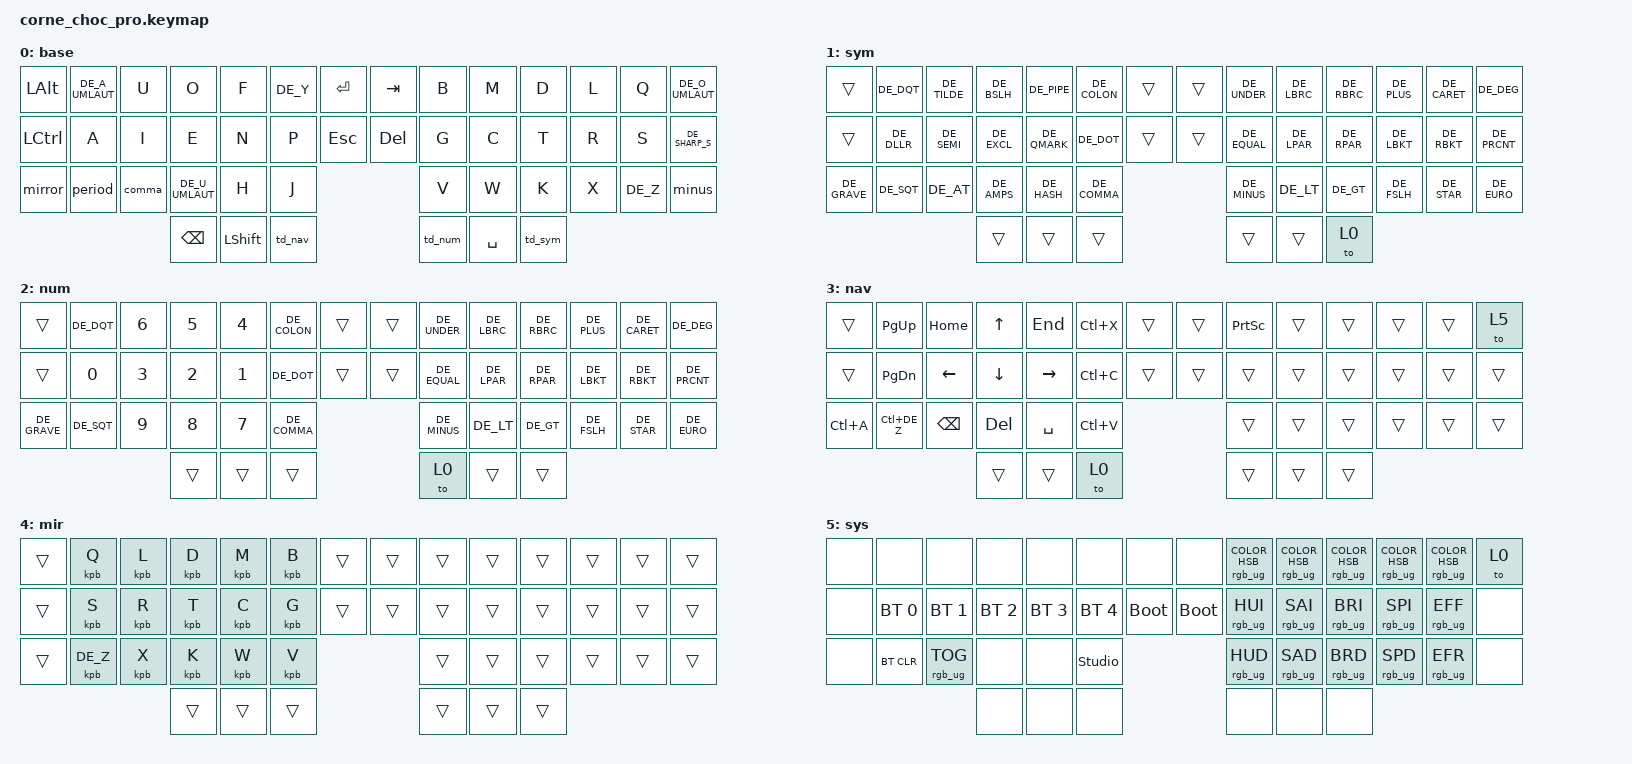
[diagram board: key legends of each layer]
/*
 * Copyright (c) 2020 The ZMK Contributors
 *
 * SPDX-License-Identifier: MIT
 */

#include <behaviors.dtsi>
#include <dt-bindings/zmk/bt.h>
#include <dt-bindings/zmk/keys.h>
#include <dt-bindings/zmk/rgb.h>
#include "keys_de.h"

/ {
    chosen { zmk,physical-layout = &default_layout; };
};

/ {
    macros {
        mirror: mirror {
            compatible = "zmk,behavior-macro";
            #binding-cells = <0>;
            bindings =
                <&to 4>,
                <&macro_press>,
                <&kp LCTRL>,
                <&macro_pause_for_release>,
                <&macro_release>,
                <&kp LCTRL>;

            label = "MIRROR";
        };

        kpb: kpb {
            compatible = "zmk,behavior-macro-one-param";
            #binding-cells = <1>;
            bindings = <&macro_param_1to1 &kp MACRO_PLACEHOLDER &to 0>;
            label = "KPB";
        };
    };

    behaviors {
        period: period {
            compatible = "zmk,behavior-mod-morph";
            label = "PERIOD";
            bindings = <&kp DE_PERIOD>, <&kp BACKSLASH>;

            #binding-cells = <0>;
            mods = <(MOD_LSFT|MOD_RSFT)>;
            keep-mods = <(MOD_LSFT|MOD_RSFT)>;
        };

        comma: comma {
            compatible = "zmk,behavior-mod-morph";
            label = "COMMA";
            bindings = <&kp DE_COMMA>, <&kp DE_PERIOD>;

            #binding-cells = <0>;
            mods = <(MOD_LSFT|MOD_RSFT)>;
            keep-mods = <(MOD_LSFT|MOD_RSFT)>;
        };

        minus: minus {
            compatible = "zmk,behavior-mod-morph";
            label = "MINUS";
            bindings = <&kp MINUS>, <&kp NUMBER_2>;

            #binding-cells = <0>;
            mods = <(MOD_LSFT|MOD_RSFT)>;
            keep-mods = <(MOD_LSFT|MOD_RSFT)>;
        };

        td_sym: td_sym {
            compatible = "zmk,behavior-tap-dance";
            label = "TD_SYM";
            #binding-cells = <0>;
            bindings = <&mo 1>, <&to 1>;
        };

        td_num: td_num {
            compatible = "zmk,behavior-tap-dance";
            label = "TD_NUM";
            #binding-cells = <0>;
            bindings = <&mo 2>, <&to 2>;
        };

        td_nav: td_nav {
            compatible = "zmk,behavior-tap-dance";
            label = "TD_NAV";
            #binding-cells = <0>;
            bindings = <&mo 3>, <&to 3>;
        };
    };

    keymap {
        compatible = "zmk,keymap";

        base {
            bindings = <
&kp LEFT_ALT  &kp DE_A_UMLAUT  &kp U   &kp O            &kp F       &kp DE_Y  &kp ENTER  &kp TAB  &kp B    &kp M      &kp D    &kp L  &kp Q     &kp DE_O_UMLAUT
&kp LCTRL     &kp A            &kp I   &kp E            &kp N       &kp P     &kp ESC    &kp DEL  &kp G    &kp C      &kp T    &kp R  &kp S     &kp DE_SHARP_S
&mirror       &period          &comma  &kp DE_U_UMLAUT  &kp H       &kp J                         &kp V    &kp W      &kp K    &kp X  &kp DE_Z  &minus
                                       &kp BACKSPACE    &kp LSHIFT  &td_nav                       &td_num  &kp SPACE  &td_sym
            >;
        };

        sym {
            bindings = <
&trans        &kp DE_DQT   &kp DE_TILDE  &kp DE_BSLH  &kp DE_PIPE   &kp DE_COLON  &trans  &trans  &kp DE_UNDER  &kp DE_LBRC  &kp DE_RBRC  &kp DE_PLUS  &kp DE_CARET  &kp DE_DEG
&trans        &kp DE_DLLR  &kp DE_SEMI   &kp DE_EXCL  &kp DE_QMARK  &kp DE_DOT    &trans  &trans  &kp DE_EQUAL  &kp DE_LPAR  &kp DE_RPAR  &kp DE_LBKT  &kp DE_RBKT   &kp DE_PRCNT
&kp DE_GRAVE  &kp DE_SQT   &kp DE_AT     &kp DE_AMPS  &kp DE_HASH   &kp DE_COMMA                  &kp DE_MINUS  &kp DE_LT    &kp DE_GT    &kp DE_FSLH  &kp DE_STAR   &kp DE_EURO
                                         &trans       &trans        &trans                        &trans        &trans       &to 0
            >;
        };

        num {
            bindings = <
&trans        &kp DE_DQT  &kp N6  &kp N5  &kp N4  &kp DE_COLON  &trans  &trans  &kp DE_UNDER  &kp DE_LBRC  &kp DE_RBRC  &kp DE_PLUS  &kp DE_CARET  &kp DE_DEG
&trans        &kp N0      &kp N3  &kp N2  &kp N1  &kp DE_DOT    &trans  &trans  &kp DE_EQUAL  &kp DE_LPAR  &kp DE_RPAR  &kp DE_LBKT  &kp DE_RBKT   &kp DE_PRCNT
&kp DE_GRAVE  &kp DE_SQT  &kp N9  &kp N8  &kp N7  &kp DE_COMMA                  &kp DE_MINUS  &kp DE_LT    &kp DE_GT    &kp DE_FSLH  &kp DE_STAR   &kp DE_EURO
                                  &trans  &trans  &trans                        &to 0         &trans       &trans
            >;
        };

        nav {
            bindings = <
&trans     &kp PG_UP     &kp HOME       &kp UP    &kp END    &kp LC(X)  &trans  &trans  &kp PRINTSCREEN  &trans  &trans  &trans  &trans  &to 5
&trans     &kp PG_DN     &kp LEFT       &kp DOWN  &kp RIGHT  &kp LC(C)  &trans  &trans  &trans           &trans  &trans  &trans  &trans  &trans
&kp LC(A)  &kp LC(DE_Z)  &kp BACKSPACE  &kp DEL   &kp SPACE  &kp LC(V)                  &trans           &trans  &trans  &trans  &trans  &trans
                                        &trans    &trans     &to 0                      &trans           &trans  &trans
            >;
        };

        mir {
            bindings = <
&trans  &kpb Q     &kpb L  &kpb D  &kpb M  &kpb B  &trans  &trans  &trans  &trans  &trans  &trans  &trans  &trans
&trans  &kpb S     &kpb R  &kpb T  &kpb C  &kpb G  &trans  &trans  &trans  &trans  &trans  &trans  &trans  &trans
&trans  &kpb DE_Z  &kpb X  &kpb K  &kpb W  &kpb V                  &trans  &trans  &trans  &trans  &trans  &trans
                           &trans  &trans  &trans                  &trans  &trans  &trans
            >;
        };

        sys {
            bindings = <
&none  &none         &none            &none         &none         &none           &none        &none        &rgb_ug RGB_COLOR_HSB(0,100,50)  &rgb_ug RGB_COLOR_HSB(126,100,50)  &rgb_ug RGB_COLOR_HSB(244,100,50)  &rgb_ug RGB_COLOR_HSB(309,100,50)  &rgb_ug RGB_COLOR_HSB(61,100,50)  &to 0
&none  &bt BT_SEL 0  &bt BT_SEL 1     &bt BT_SEL 2  &bt BT_SEL 3  &bt BT_SEL 4    &bootloader  &bootloader  &rgb_ug RGB_HUI                  &rgb_ug RGB_SAI                    &rgb_ug RGB_BRI                    &rgb_ug RGB_SPI                    &rgb_ug RGB_EFF                   &none
&none  &bt BT_CLR    &rgb_ug RGB_TOG  &none         &none         &studio_unlock                            &rgb_ug RGB_HUD                  &rgb_ug RGB_SAD                    &rgb_ug RGB_BRD                    &rgb_ug RGB_SPD                    &rgb_ug RGB_EFR                   &none
                                      &none         &none         &none                                     &none                            &none                              &none
            >;
        };
    };

    conditional_layers { compatible = "zmk,conditional-layers"; };
};
